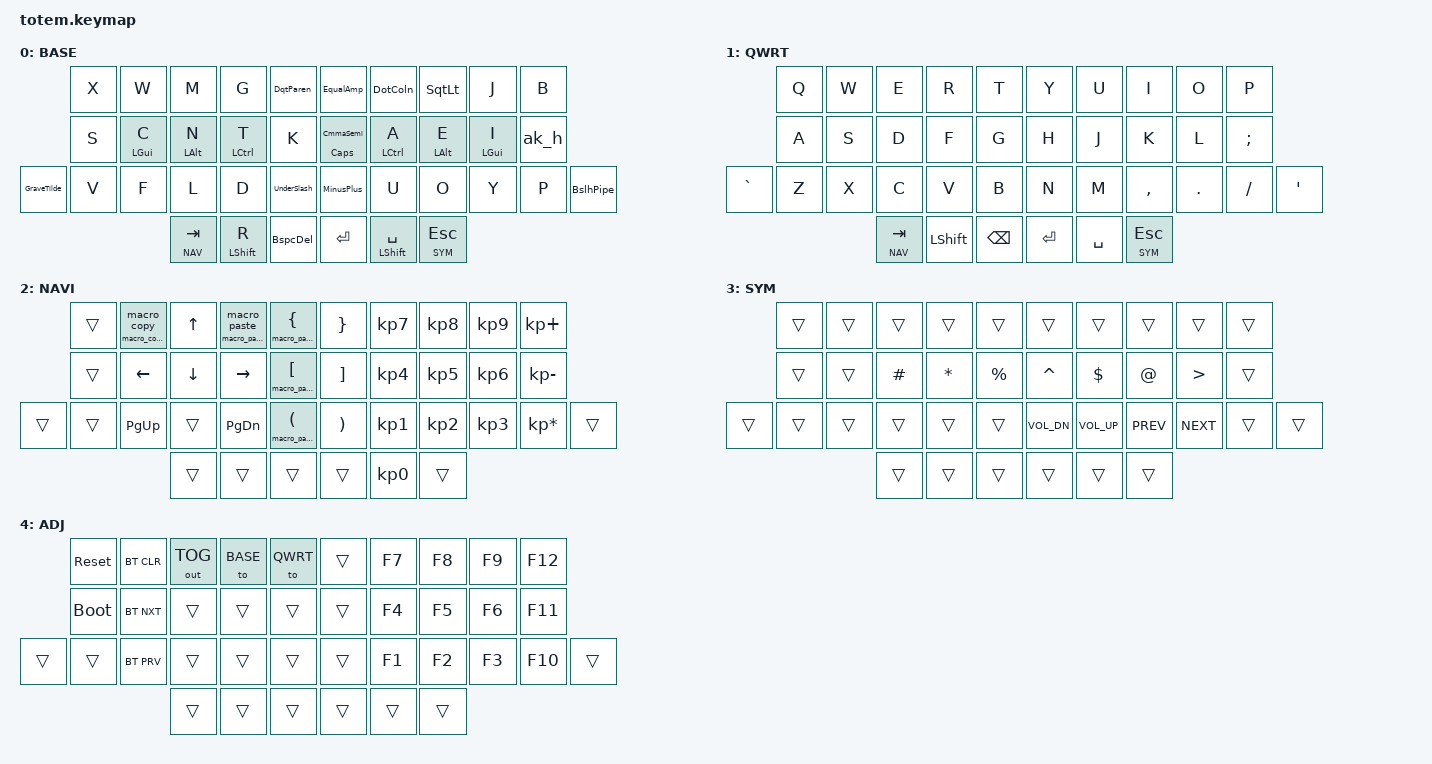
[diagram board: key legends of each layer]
//
//                                                        ▀▀▀▀▀     ▀▀▀▀▀          ▀▀█▀▀
//                                                        ▄▀▀▀▄  ▄  ▄▀▀▀▄  ▄  ▄▀▀▀▄  █  ▄▀▀▀▄
//                                                        █   █  █  █   █  █  █   █  █  █   █
//                                                         ▀▀▀   █   ▀▀▀   █   ▀▀▀   ▀   ▀▀▀
//                                                               █      ▄▄▄█▄▄▄    █   █  
//                                                               ▀      █  █  █     █▄█
//                                                             ▀▀▀▀▀    █  █  █      ▀
//                                                                      ▀  ▀  ▀
//
// ▄▄▄▄▄▄▄▄▄▄▄▄▄▄▄▄▄▄▄▄▄▄▄▄▄▄▄▄▄▄▄▄▄▄▄▄▄▄▄▄▄▄▄▄▄▄▄▄▄▄▄▄▄▄▄▄▄▄▄▄▄▄▄▄▄▄▄▄▄▄▄▄▄▄▄▄▄▄▄▄▄▄▄▄▄▄▄▄▄▄▄▄▄▄▄▄▄▄▄▄▄▄▄▄▄▄▄▄▄▄▄▄▄▄▄▄▄▄▄▄▄▄▄▄▄▄▄▄▄▄▄▄▄▄▄▄▄▄▄▄▄▄▄▄▄▄▄▄▄

#include <behaviors.dtsi>
#include <dt-bindings/zmk/bt.h>
#include <dt-bindings/zmk/keys.h>
#include <dt-bindings/zmk/outputs.h>

#define BASE 0
#define QWRT 1
#define NAV  2
#define SYM  3
#define ADJ  4

&mt {
    quick-tap-ms = <100>;
    global-quick-tap;
    flavor = "tap-preferred";
    tapping-term-ms = <170>;
};

/ {
    combos {
        compatible = "zmk,combos";

        sch {
            bindings = <&macro_Sch>;
            key-positions = <10 11 12>;
            timeout-ms = <45>;
            slow-release;
            layers = <BASE>;
        };

        tch {
            bindings = <&macro_Tch>;
            key-positions = <10 11 13>;
            timeout-ms = <45>;
            slow-release;
            layers = <BASE>;
        };

        th {
            bindings = <&lk_th H T>;
            key-positions = <12 13>;
            timeout-ms = <45>;
            slow-release;
            layers = <BASE>;
        };

        ch {
            bindings = <&macro_Ch>;
            key-positions = <11 12>;
            timeout-ms = <45>;
            slow-release;
            layers = <BASE>;
        };

        wh {
            bindings = <&macro_Wh>;
            key-positions = <1 2>;
            timeout-ms = <45>;
            slow-release;
            layers = <BASE>;
        };

        sh {
            bindings = <&lk_sh H S>;
            key-positions = <10 11>;
            timeout-ms = <45>;
            slow-release;
            layers = <BASE>;
        };

        gh {
            bindings = <&lk_gh H G>;
            key-positions = <2 3>;
            timeout-ms = <45>;
            slow-release;
            layers = <BASE>;
        };

        ph {
            bindings = <&lk_ph H P>;
            key-positions = <30 29>;
            timeout-ms = <45>;
            slow-release;
            layers = <BASE>;
        };

        qu {
            bindings = <&lk_qu Q U>;
            key-positions = <1 3>;
            timeout-ms = <45>;
            slow-release;
            layers = <BASE>;
        };

        z {
            bindings = <&kp Z>;
            key-positions = <11 13>;
            layers = <BASE>;
        };
    };

    behaviors {
        HMR_L: HMR_L {
            compatible = "zmk,behavior-hold-tap";
            label = "HMR_L";
            bindings = <&kp>, <&kp>;

            #binding-cells = <2>;
            hold-trigger-key-positions = <5 15 26 36 35 37 32 33 34 5 6 7 8 9 15 16 17 18 19 26 27 28 29 30 31 35 36 37>;
            tapping-term-ms = <200>;
            quick-tap-ms = <55>;
            flavor = "balanced";
            hold-trigger-on-release;
        };

        HMR_R: HMR_R {
            compatible = "zmk,behavior-hold-tap";
            label = "HMR_R";
            bindings = <&kp>, <&kp>;

            #binding-cells = <2>;
            tapping-term-ms = <200>;
            quick-tap-ms = <55>;
            flavor = "balanced";
            hold-trigger-key-positions = <0 1 2 3 4 10 11 12 13 14 20 21 22 23 24 25 32 33 34 35 36 37>;
            hold-trigger-on-release;
        };

        ak_h: ak_h {
            compatible = "zmk,behavior-adaptive-key";
            #binding-cells = <0>;
            bindings = <&kp H>;

            akt_ah {
                trigger-keys = <A>;
                max-prior-idle-ms = <300>;
                bindings = <&kp U>;
            };

            akt_uh {
                trigger-keys = <U>;
                max-prior-idle-ms = <300>;
                bindings = <&kp A>;
            };

            akt_eh {
                trigger-keys = <E>;
                max-prior-idle-ms = <300>;
                bindings = <&kp O>;
            };

            akt_oh {
                trigger-keys = <O>;
                max-prior-idle-ms = <300>;
                bindings = <&kp E>;
            };
        };

        // ak_m: ak_m { // GM -> GL, 
        //     compatible = "zmk,behavior-adaptive-key";
        //     #binding-cells = <0>;
        //     bindings = <&kp M>;
        //     akt_gm {
        //         trigger-keys = <G>;
        //         max-prior-idle-ms = <300>;
        //         bindings = <&kp L>;
        //     };
        // };
        // // And similarly for VP->VL, PV->LV, BT->BL, TB->LB
        // ak_g: ak_g {
        //     compatible = "zmk,behavior-adaptive-key";
        //     #binding-cells = <0>;
        //     bindings = <&kp G>;
        //     // Binding two behaviors: JG->JPG
        //     akt_jg {
        //         trigger-keys = <J>;
        //         max-prior-idle-ms = <300>;
        //         bindings = <&kp P &kp G>;
        //     };
        // };
        // shift_repeat: shift_repeat {
        //     compatible = "zmk,behavior-adaptive-key";
        //     #binding-cells = <0>;
        //     bindings = <&sk LSHFT>;
        //     repeat {
        //         trigger-keys = <A B C D E F G H I J K L M N O P Q R S T U V W X Y Z>;
        //         bindings = <&key_repeat>;
        //         max-prior-idle-ms = <350>;
        //         strict-modifiers;
        //     };
        // };

        lk_th: lk_th {
            compatible = "zmk,behavior-hold-tap";
            label = "LK_TH";
            bindings = <&macro_tion>, <&macro_Th>;

            #binding-cells = <2>;
            tapping-term-ms = <200>;
        };

        lk_sh: lk_sh {
            compatible = "zmk,behavior-hold-tap";
            label = "LK_SH";
            bindings = <&macro_sion>, <&macro_Sh>;

            #binding-cells = <2>;
            tapping-term-ms = <200>;
        };

        lk_gh: lk_gh {
            compatible = "zmk,behavior-hold-tap";
            label = "LK_GH";
            bindings = <&macro_ght>, <&macro_Gh>;

            #binding-cells = <2>;
            tapping-term-ms = <200>;
        };

        lk_ph: lk_ph {
            compatible = "zmk,behavior-hold-tap";
            label = "LK_PH";
            bindings = <&macro_phi>, <&macro_Ph>;

            #binding-cells = <2>;
            tapping-term-ms = <200>;
        };

        lk_qu: lk_qu {
            compatible = "zmk,behavior-hold-tap";
            label = "LK_QU";
            bindings = <&kp>, <&macro_Qu>;

            #binding-cells = <2>;
            tapping-term-ms = <200>;
        };

        DotColn: DotColn {
            compatible = "zmk,behavior-mod-morph";
            #binding-cells = <0>;
            bindings = <&ak_DOT>, <&kp COLON>;

            mods = <(MOD_LSFT|MOD_RSFT)>;
        };

        DotColnJ: DotColnJ {
            compatible = "zmk,behavior-mod-morph";
            #binding-cells = <0>;
            bindings = <&kp DOT>, <&kp COLON>;

            mods = <(MOD_LSFT|MOD_RSFT)>;
        };

        SlshStar: SlshStar {
            compatible = "zmk,behavior-mod-morph";
            #binding-cells = <0>;
            bindings = <&SlshBslh>, <&kp STAR>;

            mods = <(MOD_LSFT|MOD_RSFT)>;
        };

        SlshBslh: SlshBslh {
            compatible = "zmk,behavior-mod-morph";
            #binding-cells = <0>;
            bindings = <&kp FSLH>, <&kp BSLH>;

            mods = <(MOD_LALT|MOD_RALT)>;
        };

        SlshStarJ: SlshStarJ {
            compatible = "zmk,behavior-mod-morph";
            #binding-cells = <0>;
            bindings = <&kp FSLH>, <&kp STAR>;

            mods = <(MOD_LSFT|MOD_RSFT)>;
        };

        HashDllr: HashDllr {
            compatible = "zmk,behavior-mod-morph";
            #binding-cells = <0>;
            bindings = <&kp HASH>, <&kp DLLR>;

            mods = <(MOD_LSFT|MOD_RSFT)>;
        };

        MinusPlus: MinusPlus {
            compatible = "zmk,behavior-mod-morph";
            #binding-cells = <0>;
            bindings = <&kp MINUS>, <&kp PLUS>;

            mods = <(MOD_LSFT|MOD_RSFT)>;
        };

        EqualAmp: EqualAmp {
            compatible = "zmk,behavior-mod-morph";
            #binding-cells = <0>;
            bindings = <&kp EQUAL>, <&kp AMPERSAND>;

            mods = <(MOD_LSFT|MOD_RSFT)>;
        };

        UnderSlash: UnderSlash {
            compatible = "zmk,behavior-mod-morph";
            #binding-cells = <0>;
            bindings = <&kp UNDER>, <&kp FSLH>;

            mods = <(MOD_LSFT|MOD_RSFT)>;
        };

        GraveTilde: GraveTilde {
            compatible = "zmk,behavior-mod-morph";
            #binding-cells = <0>;
            bindings = <&kp GRAVE>, <&kp TILDE>;

            mods = <(MOD_LSFT|MOD_RSFT)>;
        };

        BslhPipe: BslhPipe {
            compatible = "zmk,behavior-mod-morph";
            #binding-cells = <0>;
            bindings = <&kp BSLH>, <&kp PIPE>;

            mods = <(MOD_LSFT|MOD_RSFT)>;
        };

        BspcDel: BspcDel {
            compatible = "zmk,behavior-mod-morph";
            #binding-cells = <0>;
            bindings = <&kp BSPC>, <&kp DEL>;

            mods = <(MOD_LSFT|MOD_RSFT)>;
        };

        CopyCombo: CopyCombo {
            compatible = "zmk,behavior-hold-tap";
            #binding-cells = <2>;
            tapping-term-ms = <200>;
            flavor = "tap-preferred";
            bindings = <&macro_copy_term>, <&macro_copy>;
        };

        PasteCombo: PasteCombo {
            compatible = "zmk,behavior-hold-tap";
            #binding-cells = <2>;
            tapping-term-ms = <200>;
            flavor = "tap-preferred";
            bindings = <&macro_paste_term>, <&macro_paste>;
        };

        LBrktPair: LBrktPair {
            compatible = "zmk,behavior-hold-tap";
            #binding-cells = <2>;
            tapping-term-ms = <200>;
            flavor = "tap-preferred";
            bindings = <&macro_pairBrackets>, <&kp>;
        };

        LBracePair: LBracePair {
            compatible = "zmk,behavior-hold-tap";
            #binding-cells = <2>;
            tapping-term-ms = <200>;
            flavor = "tap-preferred";
            bindings = <&macro_pairBraces>, <&kp>;
        };

        LParenPair: LParenPair {
            compatible = "zmk,behavior-hold-tap";
            #binding-cells = <2>;
            tapping-term-ms = <200>;
            flavor = "tap-preferred";
            bindings = <&macro_pairParens>, <&kp>;
        };

        /*
 * &DqtLT (put just this in the keymap)
 *
 * Double Quote key behaviors:
 *      tap     = " double quote
 *      shift   = < (less than)
 *      alt     = « (French quote double chevron)
 *      linger  = paired symbols w/insertion point between
 *
 * &SqtGT is the corresponding behavior.
 *
 * This set is used when the " appears to the left of ' in the keymap
 * so the paired symbols <«  »> are spacially correct.
 *
 * To use, just put &DqtLT in the keymap. The other behaviors are
 * so the paired symbols <«  »> are spacially correct.
 *
 */

        #define DqtParen lkDqt_Paren 0 0    // " on tap, ( on shift, paired "" on hold
#define SqtLt lkSqt_Lt 0 0          // ' on tap, < on shift, paired '' on hold
        lkDqt_Paren: lkDqt_Paren {
            compatible = "zmk,behavior-hold-tap";
            #binding-cells = <2>;
            tapping-term-ms = <200>;
            flavor = "tap-preferred";
            bindings = <&macro_pairDquo>, <&leftDquotParen>;
        };

        leftDquotParen: leftDquotParen {
            compatible = "zmk,behavior-mod-morph";
            #binding-cells = <0>;
            bindings = <&ak_DQT>, <&kp LPAR>;

            mods = <(MOD_LSFT|MOD_RSFT)>;
        };

        lkSqt_Lt: lkSqt_Lt {
            compatible = "zmk,behavior-hold-tap";
            #binding-cells = <2>;
            tapping-term-ms = <200>;
            flavor = "tap-preferred";
            bindings = <&macro_pairSquo>, <&rightSquotLt>;
        };

        rightSquotLt: rightSquotLt {
            compatible = "zmk,behavior-mod-morph";
            #binding-cells = <0>;
            bindings = <&ak_SQT>, <&kp LT>;

            mods = <(MOD_LSFT|MOD_RSFT)>;
        };

        /*
 * end of Double Quote key behaviors
 */
        /*
 * &lkSqt_lkLT (put just this in the keymap)
 *
 * Single Quote key behaviors:
 *      tap     = ' single quote
 *      shift   = < (less than)
 *      alt     = « (French quote double chevron)
 *      linger  = paired symbols w/insertion point between
 *
 * &lkDqt_GT is the corresponding behavior.
 *
 * This set is used when the ' appears to the left of " in the keymap
 * so the paired symbols <«  »> are spacially correct. (i.e. Rhodium)
 *
 * To use, just put &SqtLT in the keymap. The other behaviors are
 * referenced by this one.
 *
 */

        lkSqt_lkLT: lkSqt_lkLT {
            compatible = "zmk,behavior-hold-tap";
            #binding-cells = <2>;
            tapping-term-ms = <200>;
            flavor = "tap-preferred";
            bindings = <&pairSquotLT>, <&leftSquotLT>;
        };

        pairSquotLT: pairSquotLT {
            compatible = "zmk,behavior-mod-morph";
            #binding-cells = <0>;
            bindings = <&macro_pairSquo>, <&macro_pairLtGt>;

            mods = <(MOD_LSFT|MOD_RSFT)>;
        };

        leftSquotLT: leftSquotLT {
            compatible = "zmk,behavior-mod-morph";
            #binding-cells = <0>;
            bindings = <&kp LT>, <&kp LT>;

            mods = <(MOD_LSFT|MOD_RSFT)>;
        };

        lkDqt_GT: lkDqt_GT {
            compatible = "zmk,behavior-hold-tap";
            #binding-cells = <2>;
            tapping-term-ms = <200>;
            flavor = "tap-preferred";
            bindings = <&pairDquotGT>, <&rightDqtGT>;
        };

        pairDquotGT: pairDquotGT {
            compatible = "zmk,behavior-mod-morph";
            #binding-cells = <0>;
            bindings = <&macro_pairDquo>, <&kp GT>;

            mods = <(MOD_LSFT|MOD_RSFT)>;
        };

        rightDqtGT: leftDqtGT {
            compatible = "zmk,behavior-mod-morph";
            #binding-cells = <0>;
            bindings = <&ak_DQT>, <&kp GT>;

            mods = <(MOD_LSFT|MOD_RSFT)>;
        };

        /*
 * end of Single Quote key behaviors
 */

        ak_DOT: ak_DOT {
            compatible = "zmk,behavior-adaptive-key";
            #binding-cells = <0>;
            bindings = <&kp DOT>;

            ak_DOT_Q {
                trigger-keys = <UNDER>;
                max-prior-idle-ms = <350>;
                bindings = <&kp BSPC  &kp QMARK>;
            };
        };

        ak_DQT: ak_DQT {
            compatible = "zmk,behavior-adaptive-key";
            #binding-cells = <0>;
            bindings = <&kp DQT>;

            ak_DQT_Q {
                trigger-keys = <UNDER>;
                max-prior-idle-ms = <350>;
                bindings = <&kp BSPC  &kp QMARK>;
            };
        };

        ak_SQT: ak_SQT {
            compatible = "zmk,behavior-adaptive-key";
            #binding-cells = <0>;
            bindings = <&kp SQT>;

            ak_SQT_E {
                trigger-keys = <UNDER>;
                max-prior-idle-ms = <350>;
                bindings = <&kp BSPC  &kp EXCL>;
            };
        };

        CmmaSemi: CmmaSemi {
            compatible = "zmk,behavior-mod-morph";
            #binding-cells = <0>;
            bindings = <&ak_CMMA>, <&kp SEMI>;

            mods = <(MOD_LSFT|MOD_RSFT)>;
        };

        ak_CMMA: ak_CMMA {
            compatible = "zmk,behavior-adaptive-key";
            #binding-cells = <0>;
            bindings = <&kp CMMA>;

            ak_CMMA_cap {
                trigger-keys = <CMMA>;
                max-prior-idle-ms = <1400>;
                bindings = <&kp BSPC  &caps_word>;
            };
        };

        CmmaMgc: CmmaMgc {
            compatible = "zmk,behavior-hold-tap";
            #binding-cells = <2>;
            tapping-term-ms = <200>;
            flavor = "tap-preferred";
            bindings = <&kp>, <&CmmaSemi>;
        };
    };

    macros {
        macro_Th: macro_Th {
            compatible = "zmk,behavior-macro";
            #binding-cells = <0>;
            bindings =
                <&macro_tap>,
                <&kp T>,
                <&macro_release>,
                <&kp LSHIFT &kp RSHFT>,
                <&macro_tap>,
                <&kp H>;

            label = "MACRO_TH";
        };

        macro_Ch: macro_Ch {
            compatible = "zmk,behavior-macro";
            #binding-cells = <0>;
            bindings =
                <&macro_tap>,
                <&kp C>,
                <&macro_release>,
                <&kp LSHIFT &kp RSHFT>,
                <&macro_tap>,
                <&kp H>;

            label = "MACRO_CH";
        };

        macro_Wh: macro_Wh {
            compatible = "zmk,behavior-macro";
            #binding-cells = <0>;
            bindings =
                <&macro_tap>,
                <&kp W>,
                <&macro_release>,
                <&kp LSHIFT &kp RSHFT>,
                <&macro_tap>,
                <&kp H>;

            label = "MACRO_WH";
        };

        macro_Sh: macro_Sh {
            compatible = "zmk,behavior-macro";
            #binding-cells = <0>;
            bindings =
                <&macro_tap>,
                <&kp S>,
                <&macro_release>,
                <&kp LSHIFT &kp RSHFT>,
                <&macro_tap>,
                <&kp H>;

            label = "MACRO_SH";
        };

        macro_Gh: macro_Gh {
            compatible = "zmk,behavior-macro";
            #binding-cells = <0>;
            bindings =
                <&macro_tap>,
                <&kp G>,
                <&macro_release>,
                <&kp LSHIFT &kp RSHFT>,
                <&macro_tap>,
                <&kp H>;

            label = "MACRO_GH";
        };

        macro_Ph: macro_Ph {
            compatible = "zmk,behavior-macro";
            #binding-cells = <0>;
            bindings =
                <&macro_tap>,
                <&kp P>,
                <&macro_release>,
                <&kp LSHIFT &kp RSHFT>,
                <&macro_tap>,
                <&kp H>;

            label = "MACRO_PH";
        };

        macro_Qu: macro_Qu {
            compatible = "zmk,behavior-macro";
            #binding-cells = <0>;
            bindings =
                <&macro_tap>,
                <&kp Q>,
                <&macro_release>,
                <&kp LSHIFT &kp RSHFT>,
                <&macro_tap>,
                <&kp U>;

            label = "MACRO_QU";
        };

        macro_Sch: macro_Sch {
            compatible = "zmk,behavior-macro";
            #binding-cells = <0>;
            bindings =
                <&macro_tap>,
                <&kp S>,
                <&macro_release>,
                <&kp LSHIFT &kp RSHFT>,
                <&macro_tap>,
                <&kp C &kp H>;

            label = "MACRO_SCH";
        };

        macro_Tch: macro_Tch {
            compatible = "zmk,behavior-macro";
            #binding-cells = <0>;
            bindings =
                <&macro_tap>,
                <&kp T>,
                <&macro_release>,
                <&kp LSHIFT &kp RSHFT>,
                <&macro_tap>,
                <&kp C &kp H>;

            label = "MACRO_TCH";
        };

        macro_sion: macro_sion {
            compatible = "zmk,behavior-macro";
            #binding-cells = <0>;
            bindings = <&macro_tap>, <&kp S &kp I &kp O &kp N>;

            label = "MACRO_SION";
        };

        macro_tion: macro_tion {
            compatible = "zmk,behavior-macro";
            #binding-cells = <0>;
            bindings = <&macro_tap>, <&kp T &kp I &kp O &kp N>;

            label = "MACRO_TION";
        };

        macro_ght: macro_ght {
            compatible = "zmk,behavior-macro";
            #binding-cells = <0>;
            bindings = <&macro_tap>, <&kp G &kp H &kp T>;

            label = "MACRO_GHT";
        };

        macro_ing: macro_ing {
            compatible = "zmk,behavior-macro";
            #binding-cells = <0>;
            bindings = <&macro_tap>, <&kp I &kp N &kp G>;

            label = "MACRO_ING";
        };

        macro_phi: macro_phi {
            compatible = "zmk,behavior-macro";
            #binding-cells = <0>;
            bindings = <&macro_tap>, <&kp P &kp H &kp I>;

            label = "MACRO_PHI";
        };

        macro_pairLtGt: macro_pairLtGt {
            compatible = "zmk,behavior-macro";
            #binding-cells = <0>;
            tap-ms = <55>;
            bindings =
                <&macro_release>,
                <&kp LSHFT &kp RSHFT &kp LALT &kp RALT &kp LCTRL &kp RCTRL &kp LGUI &kp RGUI>,
                <&macro_tap>,
                <&kp LT &kp GT &kp LEFT>;

            label = "MACRO_PAIR_GT";
        };

        macro_pairDquo: macro_pairDquo {
            compatible = "zmk,behavior-macro";
            #binding-cells = <0>;
            tap-ms = <55>;
            bindings =
                <&macro_release>,
                <&kp LSHFT &kp RSHFT &kp LALT &kp RALT &kp LCTRL &kp RCTRL &kp LGUI &kp RGUI>,
                <&macro_tap>,
                <&kp DOUBLE_QUOTES &kp DOUBLE_QUOTES &kp LEFT>;

            label = "MACRO_PAIR_DQUO";
        };

        macro_pairSquo: macro_pairSquo {
            compatible = "zmk,behavior-macro";
            #binding-cells = <0>;
            tap-ms = <55>;
            bindings =
                <&macro_release>,
                <&kp LSHFT &kp RSHFT &kp LALT &kp RALT &kp LCTRL &kp RCTRL &kp LGUI &kp RGUI>,
                <&macro_tap>,
                <&kp SINGLE_QUOTE &kp SINGLE_QUOTE &kp LEFT>;

            label = "MACRO_PAIR_SQUO";
        };

        macro_copy: macro_copy {
            compatible = "zmk,behavior-macro";
            #binding-cells = <0>;
            bindings =
                <&macro_release>,
                <&kp LSHFT &kp RSHFT &kp LALT &kp RALT &kp LCTRL &kp RCTRL &kp LGUI &kp RGUI>,
                <&macro_tap>,
                <&kp LC(C)>;

            label = "MACRO_COPY";
        };

        macro_copy_term: macro_copy_term {
            compatible = "zmk,behavior-macro";
            #binding-cells = <0>;
            bindings =
                <&macro_release>,
                <&kp LSHFT &kp RSHFT &kp LALT &kp RALT &kp LCTRL &kp RCTRL &kp LGUI &kp RGUI>,
                <&macro_tap>,
                <&kp LS(LC(C))>;

            label = "MACRO_COPY_TERM";
        };

        macro_paste: macro_paste {
            compatible = "zmk,behavior-macro";
            #binding-cells = <0>;
            bindings =
                <&macro_release>,
                <&kp LSHFT &kp RSHFT &kp LALT &kp RALT &kp LCTRL &kp RCTRL &kp LGUI &kp RGUI>,
                <&macro_tap>,
                <&kp LC(V)>;

            label = "MACRO_PASTE";
        };

        macro_paste_term: macro_paste_term {
            compatible = "zmk,behavior-macro";
            #binding-cells = <0>;
            bindings =
                <&macro_release>,
                <&kp LSHFT &kp RSHFT &kp LALT &kp RALT &kp LCTRL &kp RCTRL &kp LGUI &kp RGUI>,
                <&macro_tap>,
                <&kp LS(LC(V))>;

            label = "MACRO_PASTE_TERM";
        };

        macro_pairBrackets: macro_pairBrackets {
            compatible = "zmk,behavior-macro";
            #binding-cells = <0>;
            tap-ms = <55>;
            bindings =
                <&macro_release>,
                <&kp LSHFT &kp RSHFT &kp LALT &kp RALT &kp LCTRL &kp RCTRL &kp LGUI &kp RGUI>,
                <&macro_tap>,
                <&kp LBKT &kp RBKT &kp LEFT>;

            label = "MACRO_PAIR_BRACKETS";
        };

        macro_pairBraces: macro_pairBraces {
            compatible = "zmk,behavior-macro";
            #binding-cells = <0>;
            tap-ms = <55>;
            bindings =
                <&macro_release>,
                <&kp LSHFT &kp RSHFT &kp LALT &kp RALT &kp LCTRL &kp RCTRL &kp LGUI &kp RGUI>,
                <&macro_tap>,
                <&kp LBRC &kp RBRC &kp LEFT>;

            label = "MACRO_PAIR_BRACES";
        };

        macro_pairParens: macro_pairParens {
            compatible = "zmk,behavior-macro";
            #binding-cells = <0>;
            tap-ms = <55>;
            bindings =
                <&macro_release>,
                <&kp LSHFT &kp RSHFT &kp LALT &kp RALT &kp LCTRL &kp RCTRL &kp LGUI &kp RGUI>,
                <&macro_tap>,
                <&kp LPAR &kp RPAR &kp LEFT>;

            label = "MACRO_PAIR_PARENS";
        };
    };

    keymap {
        compatible = "zmk,keymap";

        // ▄▄▄▄▄▄▄▄▄▄▄▄▄▄▄▄▄▄▄▄▄▄▄▄▄▄▄▄▄▄▄▄▄▄▄▄▄▄▄▄▄▄▄▄▄▄▄▄▄▄▄▄▄▄▄▄▄▄▄▄▄▄▄▄▄▄▄▄▄▄▄▄▄▄▄▄▄▄▄▄▄▄▄▄▄▄▄▄▄▄▄▄▄▄▄▄▄▄▄▄▄▄▄▄▄▄▄▄▄▄▄▄▄▄▄▄▄▄▄▄▄▄▄▄▄▄▄▄▄▄▄▄▄▄▄▄▄▄▄▄▄▄▄▄▄▄▄▄▄

        base_layer {
            // ┏━━━━━━━━━━━━━━━━━━━━━━━━━━━━━━━━━━━━━━━┓

            label = "BASE";

            // ┗━━━━━━━━━━━━━━━━━━━━━━━━━━━━━━━━━━━━━━━┛
            //             ┏━━━━━━━━━━━┳━━━━━━━━━━━┳━━━━━━━━━━━┳━━━━━━━━━━━┳━━━━━━━━━━━┓   ┏━━━━━━━━━━━┳━━━━━━━━━━━┳━━━━━━━━━━━┳━━━━━━━━━━━┳━━━━━━━━━━━┓
            //             ┃     X     ┃     W     ┃     M     ┃     G     ┃   "/(     ┃   ┃    =/&    ┃     :     ┃   '/<     ┃     J     ┃     B     ┃
            //             ┣━━━━━━━━━━━╋━━━━━━━━━━━╋━━━━━━━━━━━╋━━━━━━━━━━━╋━━━━━━━━━━━┫   ┣━━━━━━━━━━━╋━━━━━━━━━━━╋━━━━━━━━━━━╋━━━━━━━━━━━╋━━━━━━━━━━━┫
            //             ┃     S     ┃   C/GUI   ┃   N/ALT   ┃   T/CTRL  ┃     K     ┃   ┃    ,/SFT  ┃   A/CTRL  ┃   E/ALT   ┃  I/GUI    ┃     H     ┃
            // ┏━━━━━━━━━━━╋━━━━━━━━━━━╋━━━━━━━━━━━╋━━━━━━━━━━━╋━━━━━━━━━━━╋━━━━━━━━━━━┫   ┣━━━━━━━━━━━╋━━━━━━━━━━━╋━━━━━━━━━━━╋━━━━━━━━━━━╋━━━━━━━━━━━╋━━━━━━━━━━━┓
            // ┃    `~     ┃     V     ┃     F     ┃     L     ┃     D     ┃    _/     ┃   ┃    -+     ┃     U     ┃     O     ┃     Y     ┃     P     ┃    \|     ┃
            // ┗━━━━━━━━━━━┻━━━━━━━━━━━┻━━━━━━━━━━━╋━━━━━━━━━━━╋━━━━━━━━━━━╋━━━━━━━━━━━┫   ┣━━━━━━━━━━━╋━━━━━━━━━━━╋━━━━━━━━━━━╋━━━━━━━━━━━┻━━━━━━━━━━━┻━━━━━━━━━━━┛
            //                                     ┃    TAB    ┃   R/SHIFT ┃   BSPC    ┃   ┃   ENTER   ┃ SPC/SHIFT ┃    ESC    ┃
            //                                     ┗━━━━━━━━━━━┻━━━━━━━━━━━┻━━━━━━━━━━━┛   ┗━━━━━━━━━━━┻━━━━━━━━━━━┻━━━━━━━━━━━┛

            bindings = <
             &kp X  &kp W          &kp M              &kp G                &DqtParen      &EqualAmp            &DotColn                 &SqtLt             &kp J          &kp B
             &kp S  &HMR_L LGUI C  &HMR_L LEFT_ALT N  &HMR_L LCTRL T       &kp K          &CmmaMgc CAPSLOCK 0  &HMR_R LCTRL A           &HMR_R LEFT_ALT E  &HMR_R LGUI I  &ak_h
&GraveTilde  &kp V  &kp F          &kp L              &kp D                &UnderSlash    &MinusPlus           &kp U                    &kp O              &kp Y          &kp P  &BslhPipe
                                   &lt NAV TAB          &HMR_L LEFT_SHIFT R  &BspcDel       &kp ENTER            &HMR_R LEFT_SHIFT SPACE  &lt SYM ESC
            >;
        };

        qwerty_layer {
            // ┏━━━━━━━━━━━━━━━━━━━━━━━━━━━━━━━━━━━━━━━┓

            label = "QWRT";

            // ┗━━━━━━━━━━━━━━━━━━━━━━━━━━━━━━━━━━━━━━━┛
            //             ┏━━━━━━━━━━━┳━━━━━━━━━━━┳━━━━━━━━━━━┳━━━━━━━━━━━┳━━━━━━━━━━━┓   ┏━━━━━━━━━━━┳━━━━━━━━━━━┳━━━━━━━━━━━┳━━━━━━━━━━━┳━━━━━━━━━━━┓
            //             ┃     Q     ┃     W     ┃     E     ┃     R     ┃     T     ┃   ┃     Y     ┃     U     ┃     I     ┃     O     ┃     P     ┃
            //             ┣━━━━━━━━━━━╋━━━━━━━━━━━╋━━━━━━━━━━━╋━━━━━━━━━━━╋━━━━━━━━━━━┫   ┣━━━━━━━━━━━╋━━━━━━━━━━━╋━━━━━━━━━━━╋━━━━━━━━━━━╋━━━━━━━━━━━┫
            //             ┃     A     ┃     S     ┃     D     ┃     F     ┃     G     ┃   ┃     H     ┃     J     ┃     K     ┃     L     ┃     ;     ┃
            // ┏━━━━━━━━━━━╋━━━━━━━━━━━╋━━━━━━━━━━━╋━━━━━━━━━━━╋━━━━━━━━━━━╋━━━━━━━━━━━┫   ┣━━━━━━━━━━━╋━━━━━━━━━━━╋━━━━━━━━━━━╋━━━━━━━━━━━╋━━━━━━━━━━━╋━━━━━━━━━━━┓
            // ┃    `~     ┃     Z     ┃     X     ┃     C     ┃     V     ┃     B     ┃   ┃     N     ┃     M     ┃     ,     ┃     .     ┃     /     ┃     '     ┃
            // ┗━━━━━━━━━━━┻━━━━━━━━━━━┻━━━━━━━━━━━╋━━━━━━━━━━━╋━━━━━━━━━━━╋━━━━━━━━━━━┫   ┣━━━━━━━━━━━╋━━━━━━━━━━━╋━━━━━━━━━━━╋━━━━━━━━━━━┻━━━━━━━━━━━┻━━━━━━━━━━━┛
            //                                     ┃    TAB    ┃   SHIFT   ┃   BSPC    ┃   ┃   ENTER   ┃   SPACE   ┃    ESC    ┃
            //                                     ┗━━━━━━━━━━━┻━━━━━━━━━━━┻━━━━━━━━━━━┛   ┗━━━━━━━━━━━┻━━━━━━━━━━━┻━━━━━━━━━━━┛

            bindings = <
           &kp Q  &kp W  &kp E      &kp R      &kp T       &kp Y      &kp U      &kp I      &kp O    &kp P
           &kp A  &kp S  &kp D      &kp F      &kp G       &kp H      &kp J      &kp K      &kp L    &kp SEMI
&kp GRAVE  &kp Z  &kp X  &kp C      &kp V      &kp B       &kp N      &kp M      &kp COMMA  &kp DOT  &kp FSLH  &kp SQT
                         &lt NAV TAB  &kp LSHFT  &kp BSPC    &kp ENTER  &kp SPACE  &lt SYM ESC
            >;
        };

        nav_layer {
            // ┏━━━━━━━━━━━━━━━━━━━━━━━━━━━━━━━━━━━━━━━┓

            label = "NAVI";

            // ┗━━━━━━━━━━━━━━━━━━━━━━━━━━━━━━━━━━━━━━━┛
            //             ┏━━━━━━━━━━━┳━━━━━━━━━━━┳━━━━━━━━━━━┳━━━━━━━━━━━┳━━━━━━━━━━━┓   ┏━━━━━━━━━━━┳━━━━━━━━━━━┳━━━━━━━━━━━┳━━━━━━━━━━━┳━━━━━━━━━━━┓
            //             ┃           ┃   COPY    ┃    UP     ┃   PASTE   ┃     {     ┃   ┃     }     ┃     7     ┃     8     ┃     9     ┃     +     ┃
            //             ┣━━━━━━━━━━━╋━━━━━━━━━━━╋━━━━━━━━━━━╋━━━━━━━━━━━╋━━━━━━━━━━━┫   ┣━━━━━━━━━━━╋━━━━━━━━━━━╋━━━━━━━━━━━╋━━━━━━━━━━━╋━━━━━━━━━━━┫
            //             ┃           ┃   LEFT    ┃   DOWN    ┃   RIGHT   ┃     [     ┃   ┃     ]     ┃     4     ┃     5     ┃     6     ┃     -     ┃
            // ┏━━━━━━━━━━━╋━━━━━━━━━━━╋━━━━━━━━━━━╋━━━━━━━━━━━╋━━━━━━━━━━━╋━━━━━━━━━━━┫   ┣━━━━━━━━━━━╋━━━━━━━━━━━╋━━━━━━━━━━━╋━━━━━━━━━━━╋━━━━━━━━━━━╋━━━━━━━━━━━┓
            // ┃           ┃           ┃   PG_UP   ┃           ┃   PG_DN   ┃     (     ┃   ┃     )     ┃     1     ┃     2     ┃     3     ┃     *     ┃           ┃
            // ┗━━━━━━━━━━━┻━━━━━━━━━━━┻━━━━━━━━━━━╋━━━━━━━━━━━╋━━━━━━━━━━━╋━━━━━━━━━━━┫   ┣━━━━━━━━━━━╋━━━━━━━━━━━╋━━━━━━━━━━━╋━━━━━━━━━━━┻━━━━━━━━━━━┻━━━━━━━━━━━┛
            //                                     ┃           ┃           ┃           ┃   ┃           ┃     0     ┃           ┃
            //                                     ┗━━━━━━━━━━━┻━━━━━━━━━━━┻━━━━━━━━━━━┛   ┗━━━━━━━━━━━┻━━━━━━━━━━━┻━━━━━━━━━━━┛

            bindings = <
        &trans  &CopyCombo 0 0  &kp UP    &PasteCombo 0 0  &LBracePair 0 LBRC    &kp RBRC  &kp KP_N7        &kp KP_N8  &kp KP_N9  &kp KP_PLUS
        &trans  &kp LEFT        &kp DOWN  &kp RIGHT        &LBrktPair 0 LBKT     &kp RBKT  &kp KP_N4        &kp KP_N5  &kp KP_N6  &kp KP_MINUS
&trans  &trans  &kp PG_UP       &trans    &kp PG_DN        &LParenPair 0 LPAR    &kp RPAR  &kp KP_N1        &kp KP_N2  &kp KP_N3  &kp KP_MULTIPLY  &trans
                                &trans    &trans           &trans                &trans    &kp KP_NUMBER_0  &trans
            >;
        };

        sim_layer {
            // ┏━━━━━━━━━━━━━━━━━━━━━━━━━━━━━━━━━━━━━━━┓

            label = "SYM";

            // ┗━━━━━━━━━━━━━━━━━━━━━━━━━━━━━━━━━━━━━━━┛
            //             ┏━━━━━━━━━━━┳━━━━━━━━━━━┳━━━━━━━━━━━┳━━━━━━━━━━━┳━━━━━━━━━━━┓   ┏━━━━━━━━━━━┳━━━━━━━━━━━┳━━━━━━━━━━━┳━━━━━━━━━━━┳━━━━━━━━━━━┓
            //             ┃           ┃           ┃           ┃           ┃           ┃   ┃           ┃           ┃           ┃           ┃           ┃
            //             ┣━━━━━━━━━━━╋━━━━━━━━━━━╋━━━━━━━━━━━╋━━━━━━━━━━━╋━━━━━━━━━━━┫   ┣━━━━━━━━━━━╋━━━━━━━━━━━╋━━━━━━━━━━━╋━━━━━━━━━━━╋━━━━━━━━━━━┫
            //             ┃           ┃     #     ┃     *     ┃     %     ┃     ^     ┃   ┃     $     ┃     @     ┃     >     ┃           ┃           ┃
            // ┏━━━━━━━━━━━╋━━━━━━━━━━━╋━━━━━━━━━━━╋━━━━━━━━━━━╋━━━━━━━━━━━╋━━━━━━━━━━━┫   ┣━━━━━━━━━━━╋━━━━━━━━━━━╋━━━━━━━━━━━╋━━━━━━━━━━━╋━━━━━━━━━━━╋━━━━━━━━━━━┓
            // ┃           ┃           ┃           ┃           ┃           ┃           ┃   ┃  VOL_DN   ┃  VOL_UP   ┃   PREV    ┃   NEXT    ┃           ┃           ┃
            // ┗━━━━━━━━━━━┻━━━━━━━━━━━┻━━━━━━━━━━━╋━━━━━━━━━━━╋━━━━━━━━━━━╋━━━━━━━━━━━┫   ┣━━━━━━━━━━━╋━━━━━━━━━━━╋━━━━━━━━━━━╋━━━━━━━━━━━┻━━━━━━━━━━━┻━━━━━━━━━━━┛
            //                                     ┃           ┃           ┃           ┃   ┃           ┃           ┃           ┃
            //                                     ┗━━━━━━━━━━━┻━━━━━━━━━━━┻━━━━━━━━━━━┛   ┗━━━━━━━━━━━┻━━━━━━━━━━━┻━━━━━━━━━━━┛

            bindings = <
        &trans  &trans  &trans     &trans        &trans         &trans        &trans        &trans       &trans      &trans
        &trans  &trans  &kp POUND  &kp ASTERISK  &kp PERCENT    &kp CARET     &kp DOLLAR    &kp AT_SIGN  &kp GT      &trans
&trans  &trans  &trans  &trans     &trans        &trans         &kp C_VOL_DN  &kp C_VOL_UP  &kp C_PREV   &kp C_NEXT  &trans  &trans
                        &trans     &trans        &trans         &trans        &trans        &trans
            >;
        };

        adjust_layer {
            // ┏━━━━━━━━━━━━━━━━━━━━━━━━━━━━━━━━━━━━━━━┓

            label = "ADJ";

            // ┗━━━━━━━━━━━━━━━━━━━━━━━━━━━━━━━━━━━━━━━┛
            //             ┏━━━━━━━━━━━┳━━━━━━━━━━━┳━━━━━━━━━━━┳━━━━━━━━━━━┳━━━━━━━━━━━┓   ┏━━━━━━━━━━━┳━━━━━━━━━━━┳━━━━━━━━━━━┳━━━━━━━━━━━┳━━━━━━━━━━━┓
            //             ┃   RESET   ┃ BT CLEAR  ┃  OUT TOG  ┃   BASE    ┃   QWRT    ┃   ┃           ┃    F7     ┃    F8     ┃    F9     ┃    F12    ┃
            //             ┣━━━━━━━━━━━╋━━━━━━━━━━━╋━━━━━━━━━━━╋━━━━━━━━━━━╋━━━━━━━━━━━┫   ┣━━━━━━━━━━━╋━━━━━━━━━━━╋━━━━━━━━━━━╋━━━━━━━━━━━╋━━━━━━━━━━━┫
            //             ┃ BOOTLOAD  ┃ BT NEXT   ┃           ┃           ┃           ┃   ┃           ┃    F4     ┃    F5     ┃    F6     ┃    F11    ┃
            // ┏━━━━━━━━━━━╋━━━━━━━━━━━╋━━━━━━━━━━━╋━━━━━━━━━━━╋━━━━━━━━━━━╋━━━━━━━━━━━┫   ┣━━━━━━━━━━━╋━━━━━━━━━━━╋━━━━━━━━━━━╋━━━━━━━━━━━╋━━━━━━━━━━━╋━━━━━━━━━━━┓
            // ┃           ┃           ┃ BT PREV   ┃           ┃           ┃           ┃   ┃           ┃    F1     ┃    F2     ┃    F3     ┃    F10    ┃           ┃
            // ┗━━━━━━━━━━━┻━━━━━━━━━━━┻━━━━━━━━━━━╋━━━━━━━━━━━╋━━━━━━━━━━━╋━━━━━━━━━━━┫   ┣━━━━━━━━━━━╋━━━━━━━━━━━╋━━━━━━━━━━━╋━━━━━━━━━━━┻━━━━━━━━━━━┻━━━━━━━━━━━┛
            //                                     ┃           ┃           ┃           ┃   ┃           ┃           ┃           ┃
            //                                     ┗━━━━━━━━━━━┻━━━━━━━━━━━┻━━━━━━━━━━━┛   ┗━━━━━━━━━━━┻━━━━━━━━━━━┻━━━━━━━━━━━┛

            bindings = <
        &sys_reset   &bt BT_CLR  &out OUT_TOG  &to BASE &to QWRT &trans  &kp F7  &kp F8  &kp F9  &kp F12
        &bootloader  &bt BT_NXT  &trans        &trans  &trans    &trans  &kp F4  &kp F5  &kp F6  &kp F11
&trans  &trans       &bt BT_PRV  &trans        &trans  &trans    &trans  &kp F1  &kp F2  &kp F3  &kp F10  &trans
                                 &trans        &trans  &trans    &trans  &trans  &trans
            >;
        };

        // ▄▄▄▄▄▄▄▄▄▄▄▄▄▄▄▄▄▄▄▄▄▄▄▄▄▄▄▄▄▄▄▄▄▄▄▄▄▄▄▄▄▄▄▄▄▄▄▄▄▄▄▄▄▄▄▄▄▄▄▄▄▄▄▄▄▄▄▄▄▄▄▄▄▄▄▄▄▄▄▄▄▄▄▄▄▄▄▄▄▄▄▄▄▄▄▄▄▄▄▄▄▄▄▄▄▄▄▄▄▄▄▄▄▄▄▄▄▄▄▄▄▄▄▄▄▄▄▄▄▄▄▄▄▄▄▄▄▄▄▄▄▄▄▄▄▄▄▄▄
    };

    conditional_layers {
        compatible = "zmk,conditional-layers";

        adj {
            if-layers = <NAV SYM>;
            then-layer = <ADJ>;
        };
    };
};
